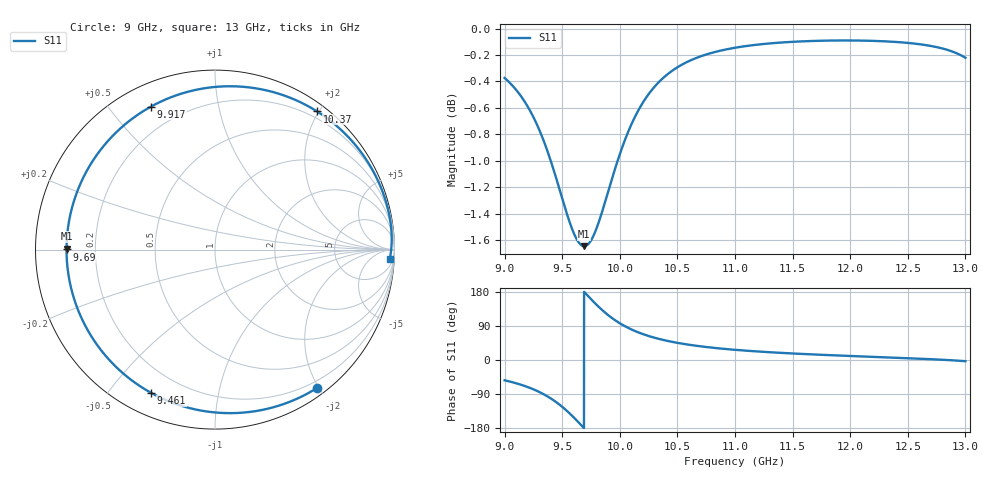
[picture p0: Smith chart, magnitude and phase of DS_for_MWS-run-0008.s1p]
! TOUCHSTONE file generated by CST DESIGN STUDIO
! Date and time: Tue Feb  4 18:22:18 2025
! Project name: C:\Work\MatlabApps\UnitCellOptimizationMatlab\CST\unitcell.cst
! Tree item: Tasks\Sweep1\SPara1\S-Parameters
! Header version: 2024
! Port assignment regex: !\s*Touchstone port\s*([0-9]+)\s*=\s*(CST MWS port|CST DES external port|CST DES block port)\s*(.+)\s* \(\"(.*)\"\)(\s*mode\s*([0-9]+))?.*
! Touchstone port assignment:
! Touchstone port 1 = CST DES external port 1 ("")
# GHz S MA R 50
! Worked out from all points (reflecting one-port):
!   4001 points, 9 GHz to 13 GHz, reference 50 ohm
!   lowest |S11| = -1.6 dB at 9.691 GHz (marker M1), VSWR 10.58, Z = 4.73 + j0.175 ohm
!   phase of S11 starts at -54 deg and turns -310 deg over the sweep
!   S11 on the Smith chart (normalised r, x): 9 GHz: 0.11, -1.98; 9.461 GHz: 0.10, -0.64; 9.69 GHz: 0.09, +0.00; 9.917 GHz: 0.10, +0.64; 10.37 GHz: 0.11, +1.98; 13 GHz: 14, -30
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9  0.9579 -53.5
9.12  0.9456 -63.2
9.237  0.9281 -75.7
9.362  0.9012 -94.2
9.414  0.8874 -104.0
9.461  0.8739 -114.1
9.5  0.8625 -123.5
9.552  0.8479 -137.3
9.606  0.8356 -153.3
9.649  0.8294 -166.8
9.69  0.8273 179.9
9.691  0.8273 179.6
9.749  0.8313 160.9
9.813  0.8437 141.4
9.865  0.8576 127.0
9.917  0.8728 114.2
10  0.8963 96.9
10.077  0.9149 84.1
10.173  0.9332 71.4
10.266  0.9465 61.8
10.368  0.9571 53.6
10.5  0.9668 45.3
10.719  0.9767 35.4
11  0.9834 26.9
11.5  0.9885 17.2
12  0.9897 10.6
12.5  0.9876 4.8
13  0.9749 -3.2
